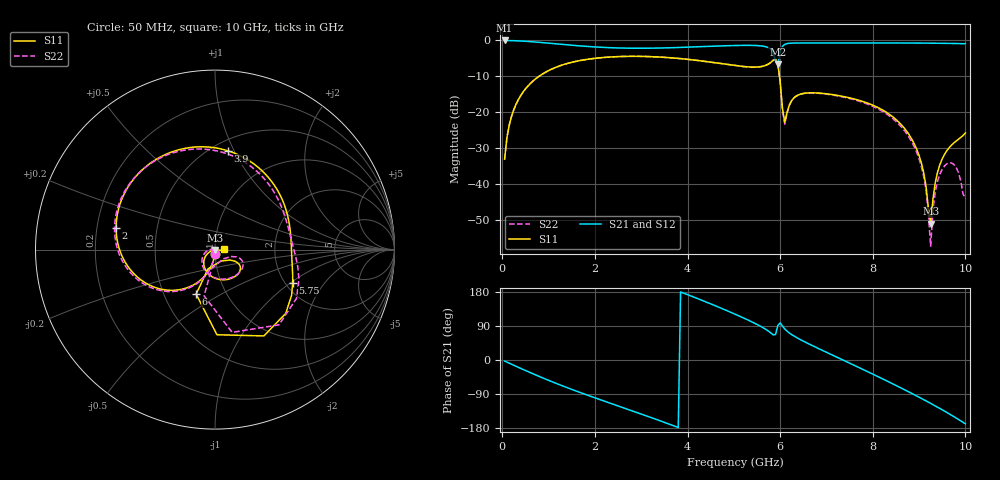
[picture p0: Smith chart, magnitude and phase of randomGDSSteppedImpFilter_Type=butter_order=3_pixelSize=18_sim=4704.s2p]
! freq	dB(S11)	phase(S11)	dB(S12)	phase(S12)
!  dB(S21)	phase(S21)	dB(S22)	phase(S22)
!S-par simulation data
#  GHz  S  DB  R 50
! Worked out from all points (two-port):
!   200 points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, 50 MHz to 10 GHz, reference 50 ohm
!   highest |S21| = -0.01 dB at 50 MHz (marker M1); lowest = -6.6 dB at 5.95 GHz (marker M2)
!   |S21| within 3 dB of the highest: start of sweep to 5.825 GHz; 6.006 GHz to end of sweep
!   lowest |S11| = -51.0 dB at 9.25 GHz (marker M3), VSWR 1.01, Z = 50.1 - j0.256 ohm
!   |S11| at or under -10 dB: start of sweep to 789.2 MHz; 5.986 GHz to end of sweep
!   |S22| runs from -57.2 to -4.4 dB; largest |S21 - S12| = 0
!   S11 on the Smith chart (normalised r, x): 50 MHz: 1.00, -0.04; 2 GHz: 0.28, +0.10; 3.9 GHz: 0.60, +0.95; 5.75 GHz: 2.18, -1.05; 6 GHz: 0.72, -0.39; 10 GHz: 1.11, +0.01
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0.05  -33.00 -92.9  -0.01 -2.9  -0.01 -2.9  -33.00 -92.8
0.2  -21.08 -101.9  -0.05 -11.3  -0.05 -11.3  -21.08 -101.5
0.5  -13.48 -118.7  -0.24 -27.7  -0.24 -27.7  -13.48 -117.8
1.75  -5.43 178.8  -1.59 -88.9  -1.59 -88.9  -5.42 -177.7
2  -4.97 167.6  -1.81 -99.8  -1.81 -99.8  -4.97 171.6
3.4  -4.62 105.8  -2.11 -160.0  -2.11 -160.0  -4.62 113.5
3.9  -5.11 82.5  -1.92 177.2  -1.92 177.2  -5.11 91.7
5.05  -7.02 24.3  -1.40 119.7  -1.40 119.7  -7.02 36.5
5.75  -6.53 -23.3  -2.05 75.8  -2.05 75.8  -6.54 -11.6
5.95  -6.47 -88.7  -6.61 91.1  -6.61 91.1  -6.54 -78.3
6  -11.39 -113.0  -3.21 98.0  -3.21 98.0  -11.54 -103.2
6.1  -22.78 -61.4  -1.08 81.9  -1.08 81.9  -23.26 -48.6
6.7  -14.56 -51.1  -0.71 37.7  -0.71 37.7  -14.60 -44.4
7.5  -15.95 -90.1  -0.71 -8.3  -0.71 -8.3  -16.13 -91.7
8.35  -20.45 -131.4  -0.71 -58.0  -0.71 -58.0  -20.91 -143.2
9  -31.99 -158.4  -0.73 -98.2  -0.73 -98.2  -32.91 177.2
9.15  -40.54 -154.6  -0.75 -107.9  -0.75 -107.9  -41.66 172.3
9.25  -50.96 -64.2  -0.76 -114.5  -0.76 -114.5  -57.18 -92.9
9.35  -39.49 -12.0  -0.77 -121.2  -0.77 -121.2  -41.97 -38.2
9.55  -31.64 -8.5  -0.81 -135.0  -0.81 -135.0  -34.86 -48.8
9.8  -27.97 -5.5  -0.86 -153.1  -0.86 -153.1  -35.27 -73.6
10  -25.71 6.7  -0.92 -168.5  -0.92 -168.5  -43.95 177.4
